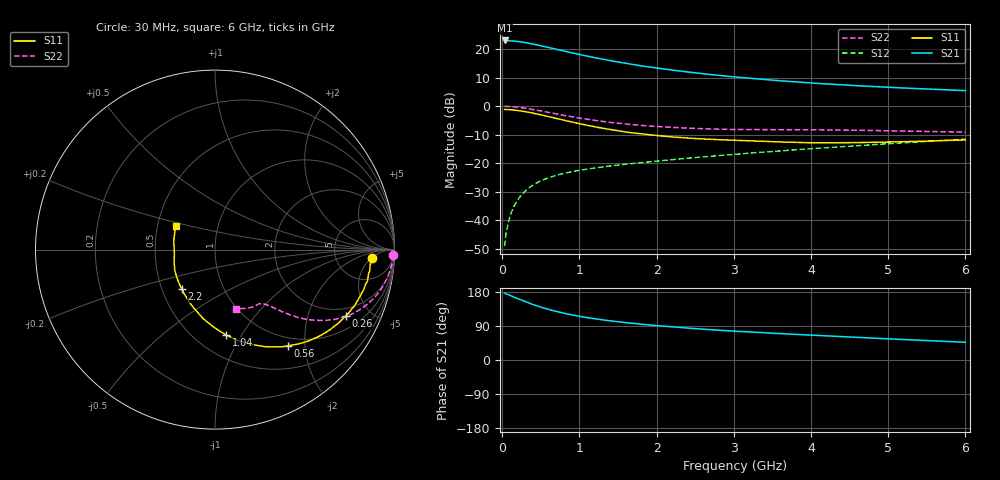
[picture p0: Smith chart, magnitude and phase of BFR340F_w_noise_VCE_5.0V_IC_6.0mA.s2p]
! Infineon Technologies  Discrete & RF Semiconductors
! BFR340F
! VCE =  5.0 V,  IC =  6.0 mA
! Common Emitter S-Parameters:  Nov 2015
# GHz  S  MA  R  50
!  f  S11  S21  S12  S22
! GHz  MAG  ANG  MAG  ANG  MAG  ANG  MAG  ANG
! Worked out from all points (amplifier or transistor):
!   206 points, 30 MHz to 6 GHz, reference 50 ohm
!   highest |S21| = 23.0 dB at 30 MHz (marker M1)
!   |S21| within 3 dB of that: start of sweep to 686.4 MHz
!   unconditionally stable (mu >= 1): 3.073 GHz to 5.947 GHz
!   at 200 MHz: K = 0.14, MSG = 27.8 dB, |S12| = -32.9 dB
!   at 1.56 GHz: K = 0.78, MSG = 17.8 dB, |S12| = -20.5 dB
!   at 6 GHz: K = 1.00, MSG = 8.5 dB, |S12| = -11.6 dB
!   lowest NFmin = 1.17 dB at 450 MHz
!   S11 on the Smith chart (normalised r, x): 30 MHz: 13, -5; 260 MHz: 1.56, -3.50; 560 MHz: 0.86, -1.68; 1.04 GHz: 0.70, -0.86; 2.2 GHz: 0.63, -0.30; 6 GHz: 0.62, +0.18
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0.03  0.8755 -3.2  14.17 176.8  0.0035 85.8  0.9902 -1.8
0.05  0.8694 -5.3  14.05 174.4  0.006 86.3  0.9892 -3.1
0.07  0.8707 -7.9  14.11 172.8  0.0082 85.9  0.9884 -4.4
0.08  0.8661 -8.6  14.03 172.4  0.0093 85.4  0.9872 -5.1
0.14  0.8581 -15.0  13.88 167.1  0.0161 82.1  0.9749 -8.8
0.26  0.8168 -27.1  13.25 156.9  0.0288 75.7  0.9346 -15.8
0.34  0.782 -34.6  12.7 150.6  0.0364 72.3  0.8997 -19.9
0.4  0.7541 -39.9  12.24 146.2  0.0415 69.9  0.8713 -22.7
0.48  0.7136 -46.6  11.61 140.7  0.0476 67.1  0.8323 -26.0
0.56  0.6731 -52.7  10.98 135.8  0.053 64.8  0.7933 -28.7
0.7  0.6081 -62.8  9.936 127.9  0.0613 61.7  0.7292 -32.8
0.8  0.5651 -69.1  9.238 123.2  0.0663 60.1  0.6878 -35.0
1.04  0.4787 -82.6  7.838 113.9  0.0765 57.8  0.6053 -38.9
1.22  0.4282 -91.6  6.982 108.1  0.0831 56.9  0.5565 -40.9
1.42  0.3846 -100.7  6.203 102.7  0.09 56.6  0.5143 -42.5
1.68  0.3405 -111.5  5.403 96.8  0.0985 56.7  0.4737 -44.2
2.02  0.3032 -123.7  4.618 90.4  0.1094 57.3  0.4378 -45.8
2.2  0.2881 -129.9  4.28 87.5  0.1153 57.7  0.4239 -46.7
3.1  0.2489 -154.6  3.17 75.2  0.146 59.6  0.3881 -51.4
4.1  0.2275 -174.8  2.495 64.5  0.1829 60.6  0.3844 -55.8
5.1  0.2364 165.4  2.108 54.9  0.2234 60.4  0.368 -62.9
6  0.2558 149.0  1.87 46.8  0.2638 59.4  0.35 -70.4
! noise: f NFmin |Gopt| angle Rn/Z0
0.45  1.17  0.43  2  0.31
0.9  1.18  0.43  11  0.34
1.9  1.43  0.3  17  0.31
2.4  1.55  0.26  27  0.31
